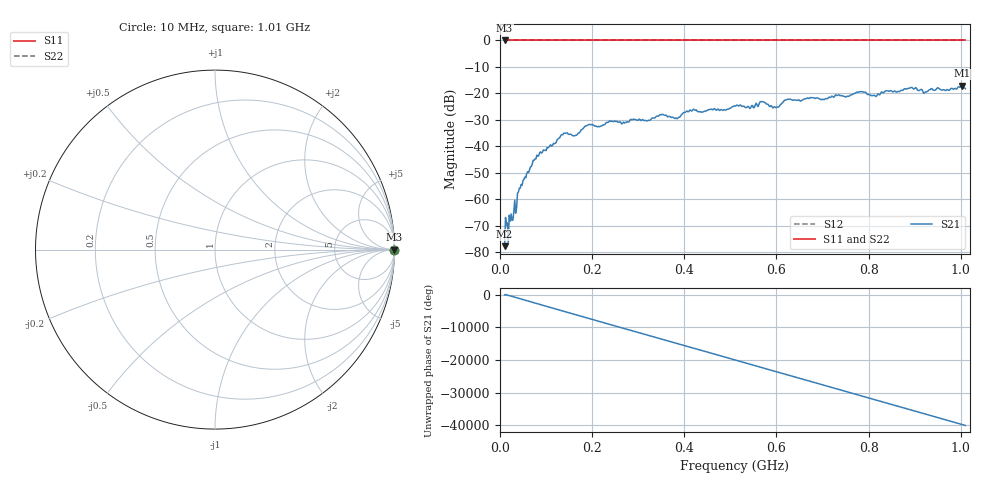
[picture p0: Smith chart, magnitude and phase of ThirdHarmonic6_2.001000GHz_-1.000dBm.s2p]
! 8/17/2025 12:02:35 AM
! C:\ANRITSUVNA\TEMP\TEMP.S2P
! CHANNEL.1
! TR.MEASUREMENT
! RAW.DATA
! RF.CORRECTION.OFF
! AVERAGING.OFF
! IF.BANDWIDTH: 5KHZ
! SWEEPTYPE:  FREQ.SWEEP(Linear)
! Reference Plane Port Info
! PORT:  PORT1  PORT2
! DISTANCE:  0  m  0  m
! TIME:  0  s  0  s
! PHASE.OFFSET:  0  deg.  0  deg.
! LOSS:  0  dB  0  dB
! REF.LOSS:  0  dB  0  dB
! REF.FREQ:  0  Hz  0  Hz
! Power Info
! POWER:  -20  dBm  -20  dBm
! EFF.POWER:  -20  dBm  -20  dBm
! SOURCE.ATTEN:  0  dB  0  dB
! TEST.ATTEN:  0  dB  0  dB
# GHZ S RI R 50.0
! FREQ.GHZ  S11RE  S11IM  S21RE  S21IM  S12RE  S12IM  S22RE  S22IM
!; PortSelection: Port_12
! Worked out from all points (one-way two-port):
!   501 points, 10 MHz to 1.01 GHz, reference 50 ohm
!   highest |S21| = -17.13 dB at 1.002 GHz (marker M1); lowest = -77.7 dB at 10 MHz (marker M2)
!   lowest |S11| = 0.0 dB at 10 MHz (marker M3)
!   |S11| at or under -10 dB: nowhere
!   |S22| runs from 0.0 to 0.0 dB; largest |S21 - S12| = 1.1
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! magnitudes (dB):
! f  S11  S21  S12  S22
! 10 MHz  0.0  -77.7  0.0  0.0
! 16 MHz  0.0  -68.9  0.0  0.0
! 32 MHz  0.0  -60.3  0.0  0.0
! 42 MHz  0.0  -55.8  0.0  0.0
! 76 MHz  0.0  -44.7  0.0  0.0
! 136 MHz  0.0  -35.6  0.0  0.0
! 162 MHz  0.0  -36.0  0.0  0.0
! 178 MHz  0.0  -33.6  0.0  0.0
! 344 MHz  0.0  -28.6  0.0  0.0
! 382 MHz  0.0  -29.2  0.0  0.0
! 416 MHz  0.0  -26.7  0.0  0.0
! 510 MHz  0.0  -24.8  0.0  0.0
! 546 MHz  0.0  -24.6  0.0  0.0
! 568 MHz  0.0  -23.1  0.0  0.0
! 596 MHz  0.0  -25.0  0.0  0.0
! 622 MHz  0.0  -22.3  0.0  0.0
! 678 MHz  0.0  -21.6  0.0  0.0
! 784 MHz  0.0  -19.4  0.0  0.0
! 814 MHz  0.0  -20.9  0.0  0.0
! 844 MHz  0.0  -19.2  0.0  0.0
! 1.002 GHz  0.0  -17.1  0.0  0.0
! 1.01 GHz  0.0  -18.2  0.0  0.0
